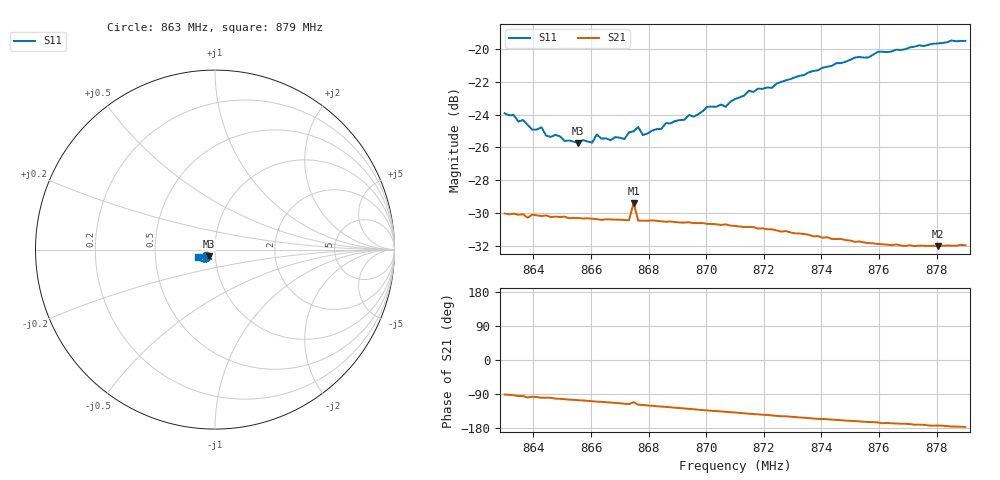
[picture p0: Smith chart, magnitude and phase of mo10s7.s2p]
# HZ S RI R 50
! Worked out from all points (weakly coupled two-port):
!   101 points, 863 MHz to 879 MHz, reference 50 ohm
!   highest |S21| = -29.38 dB at 867.48 MHz (marker M1); lowest = -32.0 dB at 878.04 MHz (marker M2)
!   lowest |S11| = -25.7 dB at 865.56 MHz (marker M3), VSWR 1.11, Z = 46.5 - j3.55 ohm
!   |S11| at or under -10 dB: start of sweep to end of sweep
!   S12 and S22 are empty: the file has one direction only
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8.63e8  -0.0511 -0.038  -0.000542 -0.0316  0 0  0 0
8.6364e8  -0.048 -0.0372  -0.00277 -0.0313  0 0  0 0
8.6396e8  -0.0428 -0.0373  -0.00375 -0.0311  0 0  0 0
8.6428e8  -0.0433 -0.0382  -0.0053 -0.0305  0 0  0 0
8.6444e8  -0.0416 -0.0351  -0.0052 -0.0307  0 0  0 0
8.6556e8  -0.0349 -0.0381  -0.00854 -0.0294  0 0  0 0
8.6572e8  -0.0351 -0.0394  -0.00879 -0.0292  0 0  0 0
8.6604e8  -0.0339 -0.0393  -0.00983 -0.0288  0 0  0 0
8.662e8  -0.0353 -0.042  -0.0103 -0.0285  0 0  0 0
8.6716e8  -0.0303 -0.0437  -0.013 -0.0272  0 0  0 0
8.6732e8  -0.032 -0.0457  -0.0134 -0.027  0 0  0 0
8.6748e8  -0.0202 -0.0524  -0.0124 -0.0316  0 0  0 0
8.6764e8  -0.0317 -0.0484  -0.0141 -0.0265  0 0  0 0
8.678e8  -0.0296 -0.046  -0.0145 -0.0263  0 0  0 0
8.6844e8  -0.0294 -0.0489  -0.0162 -0.0251  0 0  0 0
8.7004e8  -0.0333 -0.0577  -0.02 -0.0214  0 0  0 0
8.7068e8  -0.0329 -0.0579  -0.0213 -0.0201  0 0  0 0
8.71e8  -0.0355 -0.0607  -0.0216 -0.0192  0 0  0 0
8.7372e8  -0.052 -0.0681  -0.0242 -0.0117  0 0  0 0
8.7644e8  -0.0763 -0.0617  -0.0246 -0.00564  0 0  0 0
8.7804e8  -0.0901 -0.0516  -0.0249 -0.00308  0 0  0 0
8.79e8  -0.0964 -0.0434  -0.0252 -0.00155  0 0  0 0
